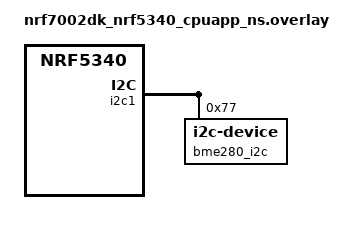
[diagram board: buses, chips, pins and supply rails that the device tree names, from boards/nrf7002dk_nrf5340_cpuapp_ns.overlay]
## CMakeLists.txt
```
# SPDX-License-Identifier: Apache-2.0

cmake_minimum_required(VERSION 3.20.0)
find_package(Zephyr REQUIRED HINTS $ENV{ZEPHYR_BASE})
project(blinky)

target_sources(app PRIVATE src/main.c)

####################################################
target_sources_ifdef(CONFIG_SUM_PRINT app PRIVATE
    sum_printk/sum_printk.c
)

target_include_directories_ifdef(CONFIG_SUM_PRINT app PRIVATE
    sum_printk
)

target_sources_ifdef(CONFIG_SUM_LOG app PRIVATE
    sum_log/sum_log.c
)

target_include_directories_ifdef(CONFIG_SUM_LOG app PRIVATE
    sum_log
)

target_sources(app PRIVATE
    bme280_direct/bme280_direct.c
    bme280_direct/bme280_compensation.c
)

target_include_directories(app PRIVATE
    bme280_direct
)
```

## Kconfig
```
mainmenu "Lab 0 application"

source "Kconfig.zephyr"

menu "Sum implementation"

choice SUM_IMPLEMENTATION
    prompt "Sum output implementation"
    default SUM_PRINT

config SUM_PRINT
    bool "Use printk for sum output"

config SUM_LOG
    bool "Use Logger for sum output"

endchoice

endmenu
```

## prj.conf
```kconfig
CONFIG_GPIO=y


CONFIG_SERIAL=y
CONFIG_CONSOLE=y
CONFIG_UART_CONSOLE=y
CONFIG_PRINTK=y

CONFIG_LOG=y
CONFIG_LOG_BACKEND_UART=y
CONFIG_LOG_DEFAULT_LEVEL=3

#CONFIG_SUM_PRINT=y
CONFIG_SUM_LOG=y

# Sensor framework + I2C
CONFIG_SENSOR=y
CONFIG_I2C=y
CONFIG_CBPRINTF_FP_SUPPORT=y
# Let TF-M release peripheral instance 1 to the non-secure application
CONFIG_TFM_SECURE_UART_SHARE_INSTANCE=y
```

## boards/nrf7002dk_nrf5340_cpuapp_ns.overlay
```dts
/ {
	aliases {
		led5180 = &led1;

		////5.3/////
		button5180 = &button0;
	};
};

/* Section 8: BME280 connected directly through I2C1 */
&i2c1 {
	status = "okay";

	bme280_i2c: bme280@77 {
		compatible = "i2c-device";
		status = "okay";
		reg = <0x77>;
	};
};

/*
 * nRF Connect SDK v3.4.0 already defines these pinctrl nodes,
 * so override their pins instead of defining duplicate labels.
 */
&i2c1_default {
	group1 {
		psels = <NRF_PSEL(TWIM_SCL, 1, 14)>,
			<NRF_PSEL(TWIM_SDA, 1, 15)>;
	};
};

&i2c1_sleep {
	group1 {
		psels = <NRF_PSEL(TWIM_SCL, 1, 14)>,
			<NRF_PSEL(TWIM_SDA, 1, 15)>;
		low-power-enable;
	};
};
```

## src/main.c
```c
/*
 * Copyright (c) 2016 Intel Corporation
 *
 * SPDX-License-Identifier: Apache-2.0
 */

#include <stdio.h>
#include <zephyr/kernel.h>
#include <zephyr/drivers/gpio.h>
#include <zephyr/drivers/i2c.h>
#include "bme280_direct.h"

///////////6.1 Add sum_log and sum_printk header files//////////
#if defined(CONFIG_SUM_PRINT)
#include "sum_printk.h"
#elif defined(CONFIG_SUM_LOG)
#include "sum_log.h"
#else
#error "A sum implementation must be selected"
#endif

/* 1000 msec = 1 sec */
#define SLEEP_TIME_MS   2000

/* The devicetree node identifier for the "led0" alias. */
#define LED0_NODE DT_ALIAS(led5180)

//////////5.2 Poll button to toggle LED2////////////////////////
//#define BUTTON_NODE DT_ALIAS(sw0)
#define POLL_TIME_MS 20

/////////5.3 Add custom button5180 devicetree alias////////////
#define BUTTON_NODE DT_ALIAS(button5180)

// /* Section 8: BME280 direct I2C access */
// #define BME280_NODE DT_NODELABEL(bme280_i2c)
// #define BME280_REG_CHIP_ID 0xD0
// #define BME280_EXPECTED_CHIP_ID 0x60
// static const struct i2c_dt_spec bme280 = I2C_DT_SPEC_GET(BME280_NODE);

/*
 * A build error on this line means your board is unsupported.
 * See the sample documentation for information on how to fix this.
 */
static const struct gpio_dt_spec led = GPIO_DT_SPEC_GET(LED0_NODE, gpios);
static const struct gpio_dt_spec button =GPIO_DT_SPEC_GET(BUTTON_NODE, gpios);

int main(void)
{
	/////////6.1 Add sum_log and sum_printk calls/////////////////
	#if defined(CONFIG_SUM_PRINT)
		int sum_result = sum_printk(10, 20);
	#elif defined(CONFIG_SUM_LOG)
		int sum_result = sum_log(10, 20);
	#endif
		(void)sum_result;
		
	int ret;
	bool led_state = true;

	bool previous_button_state = false;

	int64_t next_temperature_read;


	/* Section 8: Initialize BME280 */
	ret = bme280_direct_init();
	if (ret < 0) {
		printk("BME280 initialization failed: %d\n", ret);
		return 0;
	}

	printk("BME280 communication successful\n");

	next_temperature_read = k_uptime_get();

	// if (!gpio_is_ready_dt(&led)) {
	// 	return 0;
	// }

    /* Section 5: Initialize LED and button */
	if (!gpio_is_ready_dt(&led) ||
	    !gpio_is_ready_dt(&button)) {
		return 0;
	}

	ret = gpio_pin_configure_dt(&led, GPIO_OUTPUT_ACTIVE);
	if (ret < 0) {
		return 0;
	}

	ret = gpio_pin_configure_dt(&button, GPIO_INPUT);
	if (ret < 0) {
		return 0;
	}

	while (1) {
		//ret = gpio_pin_toggle_dt(&led);
		// if (ret < 0) {
		// 	return 0;
		// }
		// led_state = !led_state;
		// printf("LED state: %s\n", led_state ? "ON" : "OFF");
		// k_msleep(SLEEP_TIME_MS);

        /* Section 8: Print temperature every two seconds */
		if (k_uptime_get() >= next_temperature_read) {
			int32_t temperature_x100;
			int32_t absolute_temperature;

			ret = bme280_direct_read_temperature(&temperature_x100);

			if (ret < 0) {
				printk("Temperature read failed: %d\n", ret);
			}
			else {
				absolute_temperature = temperature_x100 < 0 ? -temperature_x100 : temperature_x100;
				printk("Temperature: %s%d.%02d C\n", temperature_x100 < 0 ? "-" : "", absolute_temperature / 100, absolute_temperature % 100);
			}

			next_temperature_read = k_uptime_get() + 2000;
		}

		///////////////5.2 Poll button to toggle LED2////////////////////////
		int button_state = gpio_pin_get_dt(&button);
		if (button_state < 0) {
			return 0;
		}

		/* Only toggle once when the button changes from released to pressed. */
		if (button_state && !previous_button_state) {
			led_state = !led_state;

			ret = gpio_pin_set_dt(&led, led_state);
			if (ret < 0) {
				return 0;
			}

			printf("LED state: %s\n",
			       led_state ? "ON" : "OFF");
		}

		previous_button_state = button_state;
		k_msleep(POLL_TIME_MS);
		// ///////////////////////////////////////////////////////////////////
	}
	return 0;
}
```
